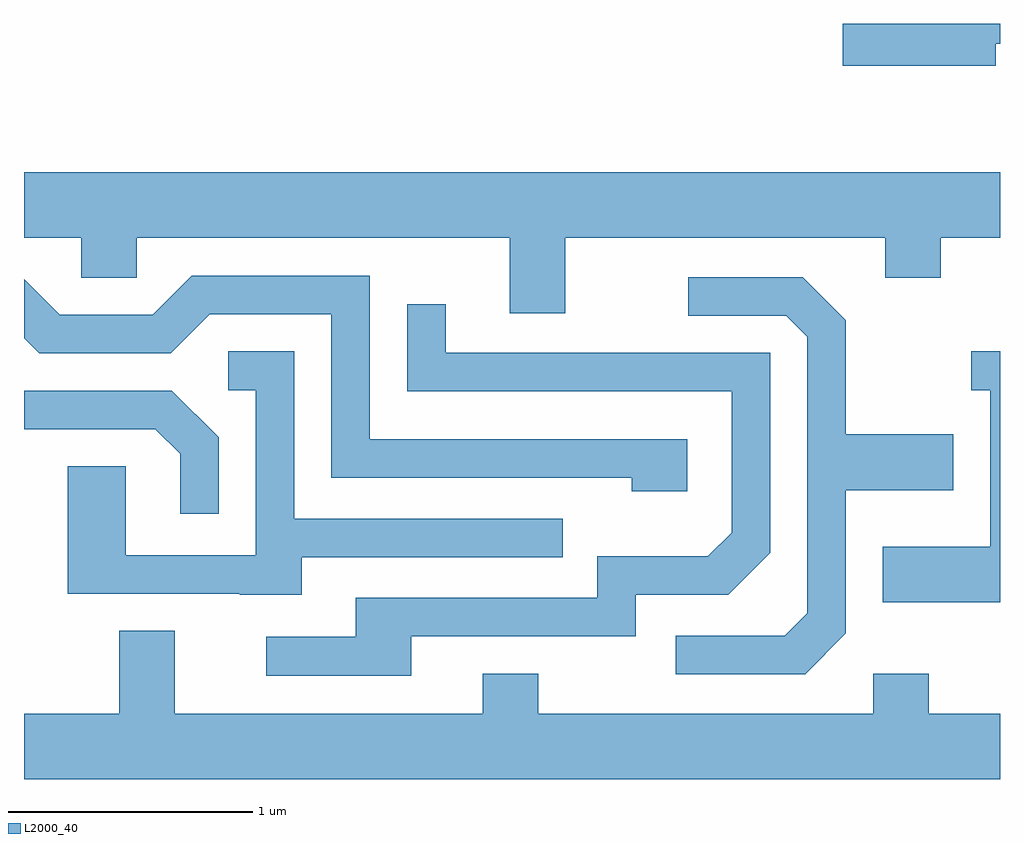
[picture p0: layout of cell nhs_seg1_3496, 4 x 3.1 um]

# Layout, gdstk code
import gdstk
lib = gdstk.Library(unit=1e-6, precision=1e-09)
def P(c, l, *ps):  # polygons
    for p in ps: c.add(gdstk.Polygon(p, *l))
L2000_40 = (2000, 40)

nhs_seg1_3496 = lib.new_cell('nhs_seg1_3496')
P(nhs_seg1_3496, L2000_40, [(293.594,973.631),(293.611,973.631),(293.611,973.712),(292.966,973.712),(292.966,973.541),(293.594,973.541)],
  [(291.829,972.836),(293.141,972.836),(293.141,972.671),(293.369,972.671),(293.369,972.836),(293.611,972.836),(293.611,973.104),(289.611,973.104),(289.611,972.836),(289.846,972.836),(289.846,972.671),(290.074,972.671),(290.074,972.836),(291.601,972.836),(291.601,972.526),(291.829,972.526)],
  [(292.329,972.009),(291.029,972.009),(291.029,972.679),(290.299,972.679),(290.139,972.519),(289.757,972.519),(289.611,972.665),(289.611,972.424),(289.674,972.361),(290.212,972.361),(290.372,972.521),(290.871,972.521),(290.871,971.851),(292.101,971.851),(292.101,971.796),(292.329,971.796)],
  [(292.979,971.214),(292.979,971.801),(293.419,971.801),(293.419,972.029),(292.979,972.029),(292.979,972.497),(292.802,972.674),(292.333,972.674),(292.333,972.516),(292.734,972.516),(292.821,972.429),(292.821,971.297),(292.729,971.204),(292.283,971.204),(292.283,971.046),(292.812,971.046)],
  [(291.199,971.201),(292.119,971.201),(292.119,971.371),(292.497,971.371),(292.669,971.544),(292.669,972.364),(291.339,972.364),(291.339,972.563),(291.181,972.563),(291.181,972.206),(292.511,972.206),(292.511,971.627),(292.414,971.529),(291.961,971.529),(291.961,971.359),(290.971,971.359),(290.971,971.199),(290.603,971.199),(290.603,971.041),(291.199,971.041)],
  [(293.611,972.369),(293.493,972.369),(293.493,972.211),(293.571,972.211),(293.571,971.569),(293.131,971.569),(293.131,971.341),(293.611,971.341)],
  [(290.749,971.526),(291.818,971.526),(291.818,971.684),(290.719,971.684),(290.719,972.369),(290.448,972.369),(290.448,972.211),(290.561,972.211),(290.561,971.534),(290.029,971.534),(290.029,971.899),(289.791,971.899),(289.791,971.376),(290.495,971.376),(290.495,971.371),(290.749,971.371)],
  [(290.409,972.017),(290.217,972.209),(289.611,972.209),(289.611,972.051),(290.149,972.051),(290.251,971.949),(290.251,971.703),(290.409,971.703)],
  [(293.611,970.884),(293.319,970.884),(293.319,971.049),(293.091,971.049),(293.091,970.884),(291.719,970.884),(291.719,971.049),(291.491,971.049),(291.491,970.884),(290.229,970.884),(290.229,971.224),(290.001,971.224),(290.001,970.884),(289.611,970.884),(289.611,970.616),(293.611,970.616)])

lib.write_gds('nhs_seg1_3496.gds')
